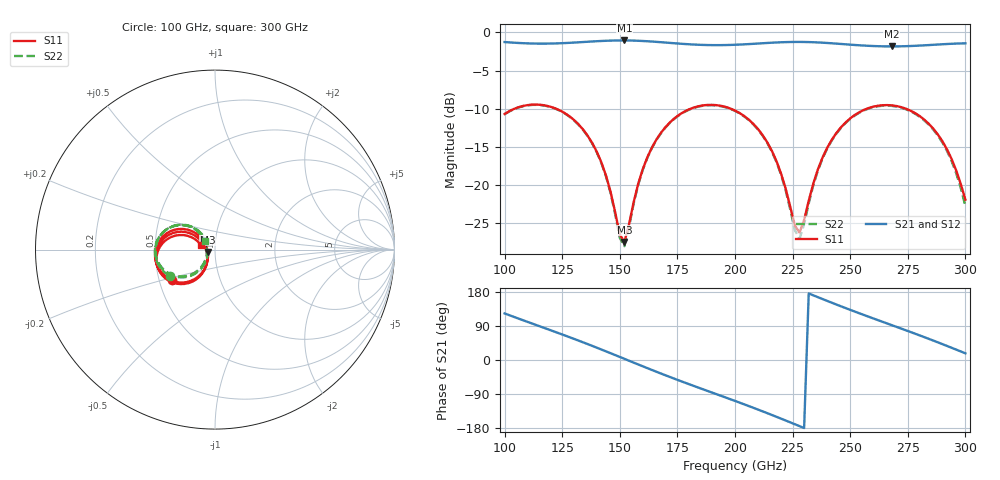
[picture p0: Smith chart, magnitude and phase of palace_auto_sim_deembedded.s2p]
! Created with skrf 1.11.0 (http://scikit-rf.org).
# GHz S DB R 50.0
!freq dBS11 angS11 dBS21 angS21 dBS12 angS12 dBS22 angS22
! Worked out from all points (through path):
!   101 points, 100 GHz to 300 GHz, reference 50 ohm
!   highest |S21| = -1.05 dB at 152 GHz (marker M1); lowest = -1.8 dB at 268 GHz (marker M2)
!   group delay of S21, straight-line fit = 6.49 ps
!   lowest |S11| = -27.5 dB at 152 GHz (marker M3), VSWR 1.09, Z = 46.1 - j1.24 ohm
!   |S11| at or under -10 dB: 122.4 GHz to 180.8 GHz (58.38 GHz wide, 38.5 % of centre); 198.2 GHz to 257.2 GHz (59.03 GHz wide, 25.9 % of centre); 274.2 GHz to end of sweep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
!   |S22| runs from -28.0 to -9.5 dB; largest |S21 - S12| = 4e-16
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100  -10.69 -144.7  -1.26 122.9  -1.26 122.9  -10.72 -149.8
118  -9.59 -179.8  -1.46 82.9  -1.46 82.9  -9.63 173.9
134  -12.70 150.3  -1.25 46.8  -1.25 46.8  -12.75 142.8
142  -17.04 139.5  -1.12 27.7  -1.12 27.7  -17.12 131.2
146  -20.91 140.7  -1.07 17.9  -1.07 17.9  -21.05 131.7
150  -26.49 165.7  -1.05 8.0  -1.05 8.0  -26.93 156.5
152  -27.47 -161.5  -1.05 3.1  -1.05 3.1  -28.02 -168.8
160  -17.89 -118.3  -1.12 -16.7  -1.12 -16.7  -17.98 -125.6
168  -13.10 -127.9  -1.28 -36.0  -1.28 -36.0  -13.15 -136.1
184  -9.68 -157.3  -1.61 -72.6  -1.61 -72.6  -9.73 -166.9
200  -10.23 172.7  -1.61 -108.0  -1.61 -108.0  -10.28 161.9
216  -15.52 146.9  -1.34 -145.1  -1.34 -145.1  -15.61 134.4
228  -26.24 -161.5  -1.24 -174.5  -1.24 -174.5  -27.03 -173.1
234  -19.80 -118.8  -1.28 170.6  -1.28 170.6  -20.01 -129.2
240  -15.13 -119.9  -1.38 156.0  -1.38 156.0  -15.23 -131.5
248  -11.80 -131.9  -1.55 137.0  -1.55 137.0  -11.87 -144.4
258  -9.91 -149.8  -1.75 114.2  -1.75 114.2  -9.98 -163.4
268  -9.56 -168.1  -1.83 92.1  -1.83 92.1  -9.62 177.3
278  -10.54 173.9  -1.75 69.8  -1.75 69.8  -10.63 158.3
288  -13.35 157.8  -1.58 46.7  -1.58 46.7  -13.49 140.6
294  -16.58 152.3  -1.48 32.3  -1.48 32.3  -16.84 133.4
300  -21.92 162.3  -1.42 17.6  -1.42 17.6  -22.77 141.0
